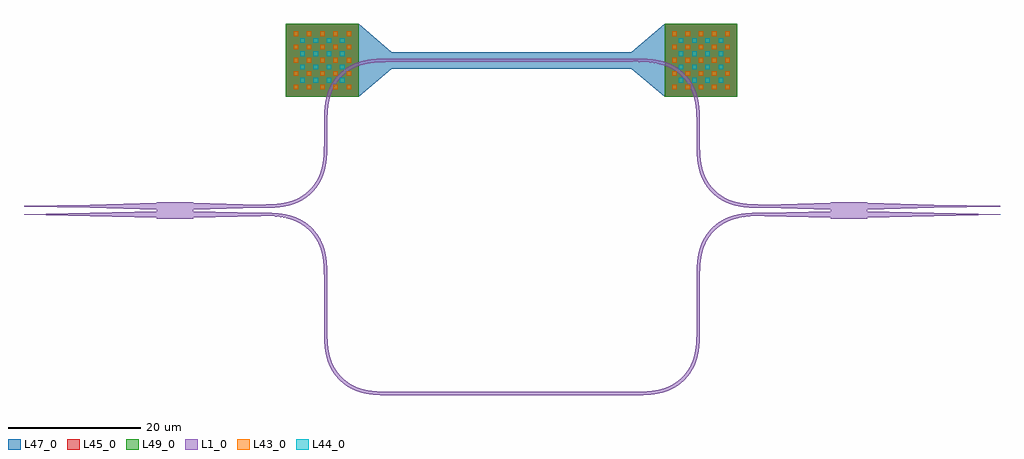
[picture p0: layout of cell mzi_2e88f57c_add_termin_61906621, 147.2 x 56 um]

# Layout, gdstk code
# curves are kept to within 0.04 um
from math import pi, radians
import gdstk
lib = gdstk.Library(unit=1e-6, precision=1e-09)
def R(c, l, rs):  # rectangles x0, y0, x1, y1
    for r in rs: c.add(gdstk.rectangle(r[:2], r[2:], *l))
def P(c, l, *ps):  # polygons
    for p in ps: c.add(gdstk.Polygon(p, *l))
L1_0 = (1, 0)
L43_0 = (43, 0)
L44_0 = (44, 0)
L45_0 = (45, 0)
L47_0 = (47, 0)
L49_0 = (49, 0)

mmi2x2 = lib.new_cell('mmi2x2')
R(mmi2x2, L1_0, [(0,-1.25,5.5,1.25)])
P(mmi2x2, L1_0, [(-10,-0.375),(0,-0.125),(0,-1.125),(-10,-0.875)],
  [(-10,0.875),(0,1.125),(0,0.125),(-10,0.375)],
  [(15.5,0.375),(5.5,0.125),(5.5,1.125),(15.5,0.875)],
  [(15.5,-0.875),(5.5,-1.125),(5.5,-0.125),(15.5,-0.375)])

bend_euler_9e0718a0 = lib.new_cell('bend_euler_9e0718a0')
P(bend_euler_9e0718a0, L1_0, [(0,-0.25),(2.724,-0.165),(3.761,-0.026),(4.739,0.201),(5.691,0.544),(6.428,0.918),(7.158,1.402),(7.859,2.003),(8.479,2.689),(9.033,3.488),(9.456,4.309),(9.799,5.261),(10.026,6.239),(10.165,7.276),(10.25,10),(9.75,10),(9.727,8.239),(9.634,7.004),(9.463,5.971),(9.18,4.971),(8.884,4.263),(8.508,3.59),(8.088,3),(7.575,2.425),(7,1.912),(6.41,1.492),(5.737,1.116),(5.029,0.82),(4.029,0.537),(2.996,0.366),(1.761,0.273),(0,0.25)])

straight_a4be237b = lib.new_cell('straight_a4be237b')
R(straight_a4be237b, L1_0, [(0,-0.25,7,0.25)])

straight_6870e926 = lib.new_cell('straight_6870e926')
R(straight_6870e926, L1_0, [(0,-0.25,0.1,0.25)])

straight_fba69bc3 = lib.new_cell('straight_fba69bc3')
R(straight_fba69bc3, L1_0, [(0,-0.25,2,0.25)])

straight_1aa74c1c = lib.new_cell('straight_1aa74c1c')
R(straight_1aa74c1c, L1_0, [(0,-0.25,18.05,0.25)])
R(straight_1aa74c1c, L47_0, [(0,-1.25,18.05,1.25)])

component_sequence_2b0ad = lib.new_cell('component_sequence_2b0ad5fc')
component_sequence_2b0ad.add(gdstk.Reference(straight_1aa74c1c, (0,0)))
component_sequence_2b0ad.add(gdstk.Reference(straight_1aa74c1c, (18.05,0)))

compass_8277d85c = lib.new_cell('compass_8277d85c')
R(compass_8277d85c, L47_0, [(-5.5,-5.5,5.5,5.5)])

compass_6419de30 = lib.new_cell('compass_6419de30')
R(compass_6419de30, L45_0, [(-5.5,-5.5,5.5,5.5)])

compass_0253aeff = lib.new_cell('compass_0253aeff')
R(compass_0253aeff, L49_0, [(-5.5,-5.5,5.5,5.5)])

via_ebd8e362 = lib.new_cell('via_ebd8e362')
R(via_ebd8e362, L44_0, [(-0.35,-0.35,0.35,0.35)])

via_fd13653e = lib.new_cell('via_fd13653e')
R(via_fd13653e, L43_0, [(-0.35,-0.35,0.35,0.35)])

via_stack_02e7e014 = lib.new_cell('via_stack_02e7e014')
via_stack_02e7e014.add(gdstk.Reference(compass_8277d85c, (0,0)))
via_stack_02e7e014.add(gdstk.Reference(compass_6419de30, (0,0)))
via_stack_02e7e014.add(gdstk.Reference(compass_0253aeff, (0,0)))
r = gdstk.Reference(via_ebd8e362, (-3,-3)); r.repetition = gdstk.Repetition(4, 4, v1=(2,0), v2=(0,2)); via_stack_02e7e014.add(r)
r = gdstk.Reference(via_fd13653e, (-4,-4)); r.repetition = gdstk.Repetition(5, 5, v1=(2,0), v2=(0,2)); via_stack_02e7e014.add(r)

taper_13d39a01 = lib.new_cell('taper_13d39a01')
P(taper_13d39a01, L47_0, [(0,5.5),(5,1.25),(5,-1.25),(0,-5.5)])

straight_heater_metal_u_ = lib.new_cell('straight_heater_metal_u_f37dff5c')
straight_heater_metal_u_.add(gdstk.Reference(component_sequence_2b0ad, (0,0)))
straight_heater_metal_u_.add(gdstk.Reference(via_stack_02e7e014, (-10.5,0)))
straight_heater_metal_u_.add(gdstk.Reference(via_stack_02e7e014, (46.6,0)))
straight_heater_metal_u_.add(gdstk.Reference(taper_13d39a01, (-5,0)))
straight_heater_metal_u_.add(gdstk.Reference(taper_13d39a01, (41.1,0), rotation=pi))

straight_fa3a3f2f = lib.new_cell('straight_fa3a3f2f')
R(straight_fa3a3f2f, L1_0, [(0,-0.25,0.09,0.25)])

straight_c804d8bd = lib.new_cell('straight_c804d8bd')
R(straight_c804d8bd, L1_0, [(0,-0.25,2,0.25)])

straight_4ae164bc = lib.new_cell('straight_4ae164bc')
R(straight_4ae164bc, L1_0, [(0,-0.25,0.01,0.25)])

straight_d494dd99 = lib.new_cell('straight_d494dd99')
R(straight_d494dd99, L1_0, [(0,-0.25,36.09,0.25)])

straight_32d14105 = lib.new_cell('straight_32d14105')
R(straight_32d14105, L1_0, [(0,-0.25,7,0.25)])

mzi_2e88f57c = lib.new_cell('mzi_2e88f57c')
mzi_2e88f57c.add(gdstk.Reference(mmi2x2, (0,0)))
mzi_2e88f57c.add(gdstk.Reference(mmi2x2, (107.2,0), rotation=pi, x_reflection=True))
mzi_2e88f57c.add(gdstk.Reference(bend_euler_9e0718a0, (15.5,-0.625), x_reflection=True))
mzi_2e88f57c.add(gdstk.Reference(straight_a4be237b, (25.5,-10.625), rotation=3*pi/2))
mzi_2e88f57c.add(gdstk.Reference(bend_euler_9e0718a0, (25.5,-17.625), rotation=3*pi/2))
mzi_2e88f57c.add(gdstk.Reference(straight_6870e926, (35.5,-27.625)))
mzi_2e88f57c.add(gdstk.Reference(bend_euler_9e0718a0, (15.5,0.625)))
mzi_2e88f57c.add(gdstk.Reference(straight_fba69bc3, (25.5,10.625), rotation=pi/2))
mzi_2e88f57c.add(gdstk.Reference(bend_euler_9e0718a0, (35.5,22.625), rotation=pi))
mzi_2e88f57c.add(gdstk.Reference(straight_heater_metal_u_, (35.5,22.625)))
mzi_2e88f57c.add(gdstk.Reference(bend_euler_9e0718a0, (71.69,22.625), x_reflection=True))
mzi_2e88f57c.add(gdstk.Reference(bend_euler_9e0718a0, (81.69,10.625), rotation=3*pi/2))
mzi_2e88f57c.add(gdstk.Reference(straight_fa3a3f2f, (71.6,22.625)))
mzi_2e88f57c.add(gdstk.Reference(straight_c804d8bd, (81.69,12.625), rotation=3*pi/2))
mzi_2e88f57c.add(gdstk.Reference(straight_4ae164bc, (91.69,0.625)))
mzi_2e88f57c.add(gdstk.Reference(bend_euler_9e0718a0, (71.69,-27.625)))
mzi_2e88f57c.add(gdstk.Reference(bend_euler_9e0718a0, (81.69,-10.625), rotation=pi/2, x_reflection=True))
mzi_2e88f57c.add(gdstk.Reference(straight_d494dd99, (35.6,-27.625)))
mzi_2e88f57c.add(gdstk.Reference(straight_32d14105, (81.69,-17.625), rotation=pi/2))
mzi_2e88f57c.add(gdstk.Reference(straight_4ae164bc, (91.69,-0.625)))

taper_09ea774b = lib.new_cell('taper_09ea774b')
P(taper_09ea774b, L1_0, [(0,0.25),(10,0.05),(10,-0.05),(0,-0.25)])

mzi_2e88f57c_add_termin_ = lib.new_cell('mzi_2e88f57c_add_termin_61906621')
mzi_2e88f57c_add_termin_.add(gdstk.Reference(mzi_2e88f57c, (0,0)))
mzi_2e88f57c_add_termin_.add(gdstk.Reference(taper_09ea774b, (-10,-0.625), rotation=pi))
mzi_2e88f57c_add_termin_.add(gdstk.Reference(taper_09ea774b, (-10,0.625), rotation=pi))
mzi_2e88f57c_add_termin_.add(gdstk.Reference(taper_09ea774b, (117.2,0.625)))
mzi_2e88f57c_add_termin_.add(gdstk.Reference(taper_09ea774b, (117.2,-0.625)))

lib.write_gds('mzi_2e88f57c_add_termin_61906621.gds')
